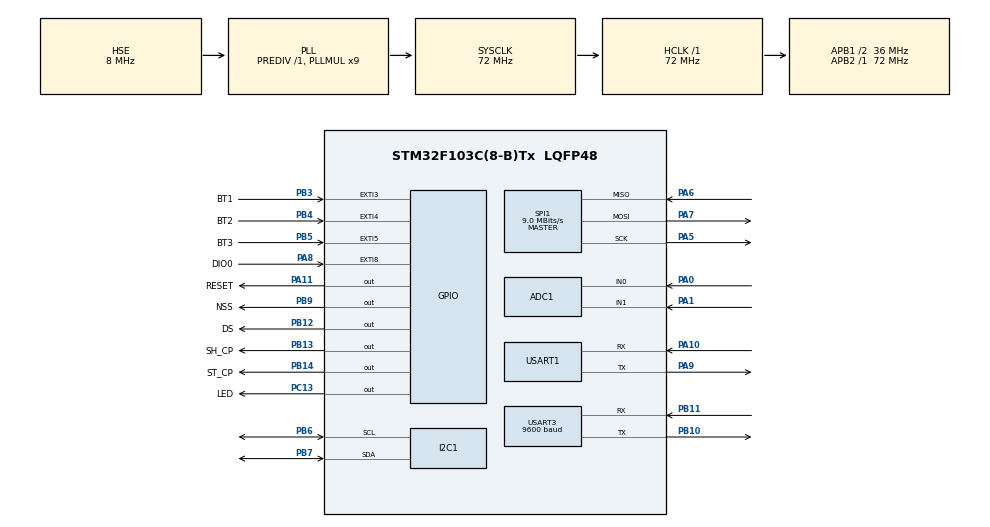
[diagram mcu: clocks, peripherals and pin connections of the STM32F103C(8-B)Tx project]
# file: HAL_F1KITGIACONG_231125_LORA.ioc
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ADC1.Channel-2\#ChannelRegularConversion=ADC_CHANNEL_0
ADC1.Channel-3\#ChannelRegularConversion=ADC_CHANNEL_1
ADC1.ContinuousConvMode=ENABLE
ADC1.NbrOfConversion=2
ADC1.NbrOfConversionFlag=1
ADC1.Rank-2\#ChannelRegularConversion=1
ADC1.Rank-3\#ChannelRegularConversion=2
ADC1.SamplingTime-2\#ChannelRegularConversion=ADC_SAMPLETIME_71CYCLES_5
ADC1.SamplingTime-3\#ChannelRegularConversion=ADC_SAMPLETIME_71CYCLES_5
ADC1.master=1
Dma.ADC1.1.Direction=DMA_PERIPH_TO_MEMORY
Dma.ADC1.1.Instance=DMA1_Channel1
Dma.ADC1.1.MemDataAlignment=DMA_MDATAALIGN_HALFWORD
Dma.ADC1.1.MemInc=DMA_MINC_ENABLE
Dma.ADC1.1.Mode=DMA_CIRCULAR
Dma.ADC1.1.PeriphDataAlignment=DMA_PDATAALIGN_HALFWORD
Dma.ADC1.1.PeriphInc=DMA_PINC_DISABLE
Dma.ADC1.1.Priority=DMA_PRIORITY_LOW
Dma.Request0=USART1_TX
Dma.Request1=ADC1
Dma.Request2=USART3_TX
Dma.USART1_TX.0.Direction=DMA_MEMORY_TO_PERIPH
Dma.USART1_TX.0.Instance=DMA1_Channel4
Dma.USART1_TX.0.MemDataAlignment=DMA_MDATAALIGN_BYTE
Dma.USART1_TX.0.MemInc=DMA_MINC_ENABLE
Dma.USART1_TX.0.Mode=DMA_NORMAL
Dma.USART1_TX.0.PeriphDataAlignment=DMA_PDATAALIGN_BYTE
Dma.USART1_TX.0.PeriphInc=DMA_PINC_DISABLE
Dma.USART1_TX.0.Priority=DMA_PRIORITY_LOW
Dma.USART3_TX.2.Direction=DMA_MEMORY_TO_PERIPH
Dma.USART3_TX.2.Instance=DMA1_Channel2
Dma.USART3_TX.2.MemDataAlignment=DMA_MDATAALIGN_BYTE
Dma.USART3_TX.2.MemInc=DMA_MINC_ENABLE
Dma.USART3_TX.2.Mode=DMA_NORMAL
Dma.USART3_TX.2.PeriphDataAlignment=DMA_PDATAALIGN_BYTE
Dma.USART3_TX.2.PeriphInc=DMA_PINC_DISABLE
Dma.USART3_TX.2.Priority=DMA_PRIORITY_LOW
FREERTOS.Tasks01=defaultTask,0,128,StartDefaultTask,Default,NULL,Dynamic,NULL,NULL
Mcu.Family=STM32F1
Mcu.Name=STM32F103C(8-B)Tx
Mcu.Package=LQFP48
NVIC.DMA1_Channel1_IRQn=true\:5\:0\:false\:false\:true\:true\:false\:true\:true
NVIC.DMA1_Channel2_IRQn=true\:5\:0\:false\:false\:true\:true\:false\:true\:true
NVIC.DMA1_Channel4_IRQn=true\:5\:0\:false\:false\:true\:true\:false\:true\:true
NVIC.EXTI3_IRQn=true\:0\:0\:false\:false\:true\:false\:true\:true\:true
NVIC.EXTI4_IRQn=true\:0\:0\:false\:false\:true\:false\:true\:true\:true
NVIC.EXTI9_5_IRQn=true\:5\:0\:false\:false\:true\:true\:true\:true\:true
NVIC.PriorityGroup=NVIC_PRIORITYGROUP_4
NVIC.TIM1_UP_IRQn=true\:5\:0\:false\:false\:true\:true\:true\:true\:true
NVIC.TIM2_IRQn=true\:15\:0\:false\:false\:true\:false\:false\:true\:true
NVIC.TimeBase=TIM2_IRQn
NVIC.TimeBaseIP=TIM2
NVIC.USART1_IRQn=true\:5\:0\:false\:false\:true\:true\:true\:true\:true
NVIC.USART3_IRQn=true\:5\:0\:false\:false\:true\:true\:true\:true\:true
PA0-WKUP.Signal=ADCx_IN0
PA1.Signal=ADCx_IN1
PA10.Mode=Asynchronous
PA10.Signal=USART1_RX
PA11.GPIO_Label=RESET
PA11.PinState=GPIO_PIN_SET
PA11.Signal=GPIO_Output
PA13.Mode=Serial_Wire
PA13.Signal=SYS_JTMS-SWDIO
PA14.Mode=Serial_Wire
PA14.Signal=SYS_JTCK-SWCLK
PA5.Mode=Full_Duplex_Master
PA5.Signal=SPI1_SCK
PA6.Mode=Full_Duplex_Master
PA6.Signal=SPI1_MISO
PA7.Mode=Full_Duplex_Master
PA7.Signal=SPI1_MOSI
PA8.GPIO_Label=DIO0
PA8.Signal=GPXTI8
PA9.Mode=Asynchronous
PA9.Signal=USART1_TX
PB10.Mode=Asynchronous
PB10.Signal=USART3_TX
PB11.Mode=Asynchronous
PB11.Signal=USART3_RX
PB12.GPIO_Label=DS
PB12.GPIO_Speed=GPIO_SPEED_FREQ_HIGH
PB12.PinState=GPIO_PIN_RESET
PB12.Signal=GPIO_Output
PB13.GPIO_Label=SH_CP
PB13.GPIO_Speed=GPIO_SPEED_FREQ_HIGH
PB13.Signal=GPIO_Output
PB14.GPIO_Label=ST_CP
PB14.GPIO_Speed=GPIO_SPEED_FREQ_HIGH
PB14.Signal=GPIO_Output
PB3.GPIO_Label=BT1
PB3.GPIO_ModeDefaultEXTI=GPIO_MODE_IT_FALLING
PB3.Signal=GPXTI3
PB4.GPIO_Label=BT2
PB4.GPIO_ModeDefaultEXTI=GPIO_MODE_IT_FALLING
PB4.Signal=GPXTI4
PB5.GPIO_Label=BT3
PB5.GPIO_ModeDefaultEXTI=GPIO_MODE_IT_FALLING
PB5.Signal=GPXTI5
PB6.Mode=I2C
PB6.Signal=I2C1_SCL
PB7.Mode=I2C
PB7.Signal=I2C1_SDA
PB9.GPIO_Label=NSS
PB9.PinState=GPIO_PIN_SET
PB9.Signal=GPIO_Output
PC13-TAMPER-RTC.GPIO_Label=LED
PC13-TAMPER-RTC.Signal=GPIO_Output
PD0-OSC_IN.Mode=HSE-External-Oscillator
PD0-OSC_IN.Signal=RCC_OSC_IN
PD1-OSC_OUT.Mode=HSE-External-Oscillator
PD1-OSC_OUT.Signal=RCC_OSC_OUT
ProjectManager.HeapSize=0x200
ProjectManager.StackSize=0x400
ProjectManager.TargetToolchain=MDK-ARM V5.32
RCC.ADCPresc=RCC_ADCPCLK2_DIV6
RCC.AHBFreq_Value=72000000
RCC.APB1CLKDivider=RCC_HCLK_DIV2
RCC.APB1Freq_Value=36000000
RCC.APB1TimFreq_Value=72000000
RCC.APB2Freq_Value=72000000
RCC.APB2TimFreq_Value=72000000
RCC.HCLKFreq_Value=72000000
RCC.PLLMUL=RCC_PLL_MUL9
RCC.PLLSourceVirtual=RCC_PLLSOURCE_HSE
RCC.SYSCLKFreq_VALUE=72000000
RCC.SYSCLKSource=RCC_SYSCLKSOURCE_PLLCLK
RCC.USBFreq_Value=72000000
SH.ADCx_IN0.0=ADC1_IN0,IN0
SH.ADCx_IN1.0=ADC1_IN1,IN1
SPI1.BaudRatePrescaler=SPI_BAUDRATEPRESCALER_8
SPI1.CalculateBaudRate=9.0 MBits/s
SPI1.Direction=SPI_DIRECTION_2LINES
SPI1.Mode=SPI_MODE_MASTER
SPI1.VirtualType=VM_MASTER
TIM1.AutoReloadPreload=TIM_AUTORELOAD_PRELOAD_ENABLE
TIM1.Period=999
TIM1.Prescaler=7199
USART1.VirtualMode=VM_ASYNC
USART3.BaudRate=9600
USART3.VirtualMode=VM_ASYNC
VP_FREERTOS_VS_CMSIS_V1.Mode=CMSIS_V1
VP_RTC_No_RTC_Output.Mode=RTC_OUT_NO
VP_RTC_VS_RTC_Activate.Mode=RTC_Enabled
VP_RTC_VS_RTC_Calendar.Mode=RTC_Calendar
VP_SYS_VS_tim2.Mode=TIM2
VP_TIM1_VS_ClockSourceINT.Mode=Internal
board=custom

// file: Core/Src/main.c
/* USER CODE BEGIN Header */
/**
  ******************************************************************************
  * @file           : main.c
  * @brief          : Main program body
  ******************************************************************************
  * @attention
  *
  * Copyright (c) 2025 STMicroelectronics.
  * All rights reserved.
  *
  * This software is licensed under terms that can be found in the LICENSE file
  * in the root directory of this software component.
  * If no LICENSE file comes with this software, it is provided AS-IS.
  *
  ******************************************************************************
  */
/* USER CODE END Header */
#include "main.h"
#include "cmsis_os.h"

ADC_HandleTypeDef hadc1;
DMA_HandleTypeDef hdma_adc1;

I2C_HandleTypeDef hi2c1;

RTC_HandleTypeDef hrtc;

SPI_HandleTypeDef hspi1;

TIM_HandleTypeDef htim1;

UART_HandleTypeDef huart1;
UART_HandleTypeDef huart3;
DMA_HandleTypeDef hdma_usart1_tx;
DMA_HandleTypeDef hdma_usart3_tx;

osThreadId defaultTaskHandle;

void SystemClock_Config(void);
static void MX_GPIO_Init(void);
static void MX_DMA_Init(void);
static void MX_I2C1_Init(void);
static void MX_SPI1_Init(void);
static void MX_USART1_UART_Init(void);
static void MX_ADC1_Init(void);
static void MX_RTC_Init(void);
static void MX_TIM1_Init(void);
static void MX_USART3_UART_Init(void);
void StartDefaultTask(void const * argument);

/* USER CODE BEGIN 0 */

uint8_t lora_flag=0;

RTC_TimeTypeDef sTime;
RTC_DateTypeDef sDate;

SemaphoreHandle_t button1_semaphore;

uint8_t button1_flag=0;

/* USER CODE END 0 */

int main(void)
{
  /* USER CODE BEGIN 1 */
	lora_semaphore=xSemaphoreCreateBinary();
	button1_semaphore=xSemaphoreCreateBinary();

  /* USER CODE END 1 */

  /* MCU Configuration--------------------------------------------------------*/

  /* Reset of all peripherals, Initializes the Flash interface and the Systick. */
  HAL_Init();

  /* Configure the system clock */
  SystemClock_Config();

  /* Initialize all configured peripherals */
  MX_GPIO_Init();
  MX_DMA_Init();
  MX_I2C1_Init();
  MX_SPI1_Init();
  MX_USART1_UART_Init();
  MX_ADC1_Init();
  MX_RTC_Init();
  MX_TIM1_Init();
  MX_USART3_UART_Init();
  /* USER CODE BEGIN 2 */
	HAL_ADC_Start_DMA(&hadc1,(uint32_t*)adc_value.adcValues,2);

	//xTaskCreate(Task1,"Task1",256,NULL,1,NULL);
	//xTaskCreate(TaskSendLora,"TaskSendLora",512,NULL,1,NULL);

	//xTaskCreate(TaskMaster,"TaskMaster",256,NULL,1,NULL);
	xTaskCreate(TaskNode,"TaskNode",512,NULL,1,NULL);

	xTaskCreate(TaskAdc,"TaskAdc",128,NULL,1,NULL);
	xTaskCreate(TaskRTC,"TaskRTC",128,NULL,1,NULL);
	xTaskCreate(TaskHienThi,"TaskHienThi",128,NULL,1,NULL);
	xTaskCreate(TaskLed,"TaskLed",128,NULL,1,NULL);
	xTaskCreate(TaskButton,"TaskButton",128,NULL,1,NULL);
	//xTaskCreate(TaskSendData,"TaskSendData",256,NULL,1,NULL);
	vTaskStartScheduler();

  /* USER CODE END 2 */

  /* Create the thread(s) */
  /* definition and creation of defaultTask */
  osThreadDef(defaultTask, StartDefaultTask, osPriorityNormal, 0, 128);
  defaultTaskHandle = osThreadCreate(osThread(defaultTask), NULL);

  /* Start scheduler */
  osKernelStart();

  /* We should never get here as control is now taken by the scheduler */
  /* Infinite loop */
  while (1)
  {

  }
}

void SystemClock_Config(void)
{
  RCC_OscInitTypeDef RCC_OscInitStruct = {0};
  RCC_ClkInitTypeDef RCC_ClkInitStruct = {0};
  RCC_PeriphCLKInitTypeDef PeriphClkInit = {0};

  /** Initializes the RCC Oscillators according to the specified parameters
  * in the RCC_OscInitTypeDef structure.
  */
  RCC_OscInitStruct.OscillatorType = RCC_OSCILLATORTYPE_LSI|RCC_OSCILLATORTYPE_HSE;
  RCC_OscInitStruct.HSEState = RCC_HSE_ON;
  RCC_OscInitStruct.HSEPredivValue = RCC_HSE_PREDIV_DIV1;
  RCC_OscInitStruct.HSIState = RCC_HSI_ON;
  RCC_OscInitStruct.LSIState = RCC_LSI_ON;
  RCC_OscInitStruct.PLL.PLLState = RCC_PLL_ON;
  RCC_OscInitStruct.PLL.PLLSource = RCC_PLLSOURCE_HSE;
  RCC_OscInitStruct.PLL.PLLMUL = RCC_PLL_MUL9;
  if (HAL_RCC_OscConfig(&RCC_OscInitStruct) != HAL_OK)
  {
    Error_Handler();
  }

  /** Initializes the CPU, AHB and APB buses clocks
  */
  RCC_ClkInitStruct.ClockType = RCC_CLOCKTYPE_HCLK|RCC_CLOCKTYPE_SYSCLK
                              |RCC_CLOCKTYPE_PCLK1|RCC_CLOCKTYPE_PCLK2;
  RCC_ClkInitStruct.SYSCLKSource = RCC_SYSCLKSOURCE_PLLCLK;
  RCC_ClkInitStruct.AHBCLKDivider = RCC_SYSCLK_DIV1;
  RCC_ClkInitStruct.APB1CLKDivider = RCC_HCLK_DIV2;
  RCC_ClkInitStruct.APB2CLKDivider = RCC_HCLK_DIV1;

  if (HAL_RCC_ClockConfig(&RCC_ClkInitStruct, FLASH_LATENCY_2) != HAL_OK)
  {
    Error_Handler();
  }
  PeriphClkInit.PeriphClockSelection = RCC_PERIPHCLK_RTC|RCC_PERIPHCLK_ADC;
  PeriphClkInit.RTCClockSelection = RCC_RTCCLKSOURCE_LSI;
  PeriphClkInit.AdcClockSelection = RCC_ADCPCLK2_DIV6;
  if (HAL_RCCEx_PeriphCLKConfig(&PeriphClkInit) != HAL_OK)
  {
    Error_Handler();
  }
}

static void MX_ADC1_Init(void)
{

  ADC_ChannelConfTypeDef sConfig = {0};

  /** Common config
  */
  hadc1.Instance = ADC1;
  hadc1.Init.ScanConvMode = ADC_SCAN_ENABLE;
  hadc1.Init.ContinuousConvMode = ENABLE;
  hadc1.Init.DiscontinuousConvMode = DISABLE;
  hadc1.Init.ExternalTrigConv = ADC_SOFTWARE_START;
  hadc1.Init.DataAlign = ADC_DATAALIGN_RIGHT;
  hadc1.Init.NbrOfConversion = 2;
  if (HAL_ADC_Init(&hadc1) != HAL_OK)
  {
    Error_Handler();
  }

  /** Configure Regular Channel
  */
  sConfig.Channel = ADC_CHANNEL_0;
  sConfig.Rank = ADC_REGULAR_RANK_1;
  sConfig.SamplingTime = ADC_SAMPLETIME_71CYCLES_5;
  if (HAL_ADC_ConfigChannel(&hadc1, &sConfig) != HAL_OK)
  {
    Error_Handler();
  }

  /** Configure Regular Channel
  */
  sConfig.Channel = ADC_CHANNEL_1;
  sConfig.Rank = ADC_REGULAR_RANK_2;
  if (HAL_ADC_ConfigChannel(&hadc1, &sConfig) != HAL_OK)
  {
    Error_Handler();
  }

}

static void MX_I2C1_Init(void)
{

  hi2c1.Instance = I2C1;
  hi2c1.Init.ClockSpeed = 100000;
  hi2c1.Init.DutyCycle = I2C_DUTYCYCLE_2;
  hi2c1.Init.OwnAddress1 = 0;
  hi2c1.Init.AddressingMode = I2C_ADDRESSINGMODE_7BIT;
  hi2c1.Init.DualAddressMode = I2C_DUALADDRESS_DISABLE;
  hi2c1.Init.OwnAddress2 = 0;
  hi2c1.Init.GeneralCallMode = I2C_GENERALCALL_DISABLE;
  hi2c1.Init.NoStretchMode = I2C_NOSTRETCH_DISABLE;
  if (HAL_I2C_Init(&hi2c1) != HAL_OK)
  {
    Error_Handler();
  }

}

static void MX_RTC_Init(void)
{

  RTC_TimeTypeDef sTime = {0};
  RTC_DateTypeDef DateToUpdate = {0};

  /** Initialize RTC Only
  */
  hrtc.Instance = RTC;
  hrtc.Init.AsynchPrediv = RTC_AUTO_1_SECOND;
  hrtc.Init.OutPut = RTC_OUTPUTSOURCE_NONE;
  if (HAL_RTC_Init(&hrtc) != HAL_OK)
  {
    Error_Handler();
  }

  /** Initialize RTC and set the Time and Date
  */
  sTime.Hours = 0x0;
  sTime.Minutes = 0x0;
  sTime.Seconds = 0x0;

  if (HAL_RTC_SetTime(&hrtc, &sTime, RTC_FORMAT_BCD) != HAL_OK)
  {
    Error_Handler();
  }
  DateToUpdate.WeekDay = RTC_WEEKDAY_MONDAY;
  DateToUpdate.Month = RTC_MONTH_JANUARY;
  DateToUpdate.Date = 0x1;
  DateToUpdate.Year = 0x0;

  if (HAL_RTC_SetDate(&hrtc, &DateToUpdate, RTC_FORMAT_BCD) != HAL_OK)
  {
    Error_Handler();
  }

}

static void MX_SPI1_Init(void)
{

  /* SPI1 parameter configuration*/
  hspi1.Instance = SPI1;
  hspi1.Init.Mode = SPI_MODE_MASTER;
  hspi1.Init.Direction = SPI_DIRECTION_2LINES;
  hspi1.Init.DataSize = SPI_DATASIZE_8BIT;
  hspi1.Init.CLKPolarity = SPI_POLARITY_LOW;
  hspi1.Init.CLKPhase = SPI_PHASE_1EDGE;
  hspi1.Init.NSS = SPI_NSS_SOFT;
  hspi1.Init.BaudRatePrescaler = SPI_BAUDRATEPRESCALER_8;
  hspi1.Init.FirstBit = SPI_FIRSTBIT_MSB;
  hspi1.Init.TIMode = SPI_TIMODE_DISABLE;
  hspi1.Init.CRCCalculation = SPI_CRCCALCULATION_DISABLE;
  hspi1.Init.CRCPolynomial = 10;
  if (HAL_SPI_Init(&hspi1) != HAL_OK)
  {
    Error_Handler();
  }

}

static void MX_TIM1_Init(void)
{

  TIM_ClockConfigTypeDef sClockSourceConfig = {0};
  TIM_MasterConfigTypeDef sMasterConfig = {0};

  htim1.Instance = TIM1;
  htim1.Init.Prescaler = 7199;
  htim1.Init.CounterMode = TIM_COUNTERMODE_UP;
  htim1.Init.Period = 999;
  htim1.Init.ClockDivision = TIM_CLOCKDIVISION_DIV1;
  htim1.Init.RepetitionCounter = 0;
  htim1.Init.AutoReloadPreload = TIM_AUTORELOAD_PRELOAD_ENABLE;
  if (HAL_TIM_Base_Init(&htim1) != HAL_OK)
  {
    Error_Handler();
  }
  sClockSourceConfig.ClockSource = TIM_CLOCKSOURCE_INTERNAL;
  if (HAL_TIM_ConfigClockSource(&htim1, &sClockSourceConfig) != HAL_OK)
  {
    Error_Handler();
  }
  sMasterConfig.MasterOutputTrigger = TIM_TRGO_RESET;
  sMasterConfig.MasterSlaveMode = TIM_MASTERSLAVEMODE_DISABLE;
  if (HAL_TIMEx_MasterConfigSynchronization(&htim1, &sMasterConfig) != HAL_OK)
  {
    Error_Handler();
  }

}

static void MX_USART1_UART_Init(void)
{

  huart1.Instance = USART1;
  huart1.Init.BaudRate = 115200;
  huart1.Init.WordLength = UART_WORDLENGTH_8B;
  huart1.Init.StopBits = UART_STOPBITS_1;
  huart1.Init.Parity = UART_PARITY_NONE;
  huart1.Init.Mode = UART_MODE_TX_RX;
  huart1.Init.HwFlowCtl = UART_HWCONTROL_NONE;
  huart1.Init.OverSampling = UART_OVERSAMPLING_16;
  if (HAL_UART_Init(&huart1) != HAL_OK)
  {
    Error_Handler();
  }

}

static void MX_USART3_UART_Init(void)
{

  huart3.Instance = USART3;
  huart3.Init.BaudRate = 9600;
  huart3.Init.WordLength = UART_WORDLENGTH_8B;
  huart3.Init.StopBits = UART_STOPBITS_1;
  huart3.Init.Parity = UART_PARITY_NONE;
  huart3.Init.Mode = UART_MODE_TX_RX;
  huart3.Init.HwFlowCtl = UART_HWCONTROL_NONE;
  huart3.Init.OverSampling = UART_OVERSAMPLING_16;
  if (HAL_UART_Init(&huart3) != HAL_OK)
  {
    Error_Handler();
  }

}

static void MX_DMA_Init(void)
{

  /* DMA controller clock enable */
  __HAL_RCC_DMA1_CLK_ENABLE();

  /* DMA interrupt init */
  /* DMA1_Channel1_IRQn interrupt configuration */
  HAL_NVIC_SetPriority(DMA1_Channel1_IRQn, 5, 0);
  HAL_NVIC_EnableIRQ(DMA1_Channel1_IRQn);
  /* DMA1_Channel2_IRQn interrupt configuration */
  HAL_NVIC_SetPriority(DMA1_Channel2_IRQn, 5, 0);
  HAL_NVIC_EnableIRQ(DMA1_Channel2_IRQn);
  /* DMA1_Channel4_IRQn interrupt configuration */
  HAL_NVIC_SetPriority(DMA1_Channel4_IRQn, 5, 0);
  HAL_NVIC_EnableIRQ(DMA1_Channel4_IRQn);

}

static void MX_GPIO_Init(void)
{
  GPIO_InitTypeDef GPIO_InitStruct = {0};

  /* GPIO Ports Clock Enable */
  __HAL_RCC_GPIOC_CLK_ENABLE();
  __HAL_RCC_GPIOD_CLK_ENABLE();
  __HAL_RCC_GPIOA_CLK_ENABLE();
  __HAL_RCC_GPIOB_CLK_ENABLE();

  /*Configure GPIO pin Output Level */
  HAL_GPIO_WritePin(LED_GPIO_Port, LED_Pin, GPIO_PIN_RESET);

  /*Configure GPIO pin Output Level */
  HAL_GPIO_WritePin(GPIOB, DS_Pin|SH_CP_Pin|ST_CP_Pin, GPIO_PIN_RESET);

  /*Configure GPIO pin Output Level */
  HAL_GPIO_WritePin(RESET_GPIO_Port, RESET_Pin, GPIO_PIN_SET);

  /*Configure GPIO pin Output Level */
  HAL_GPIO_WritePin(NSS_GPIO_Port, NSS_Pin, GPIO_PIN_SET);

  /*Configure GPIO pin : LED_Pin */
  GPIO_InitStruct.Pin = LED_Pin;
  GPIO_InitStruct.Mode = GPIO_MODE_OUTPUT_PP;
  GPIO_InitStruct.Pull = GPIO_NOPULL;
  GPIO_InitStruct.Speed = GPIO_SPEED_FREQ_LOW;
  HAL_GPIO_Init(LED_GPIO_Port, &GPIO_InitStruct);

  /*Configure GPIO pins : DS_Pin SH_CP_Pin ST_CP_Pin */
  GPIO_InitStruct.Pin = DS_Pin|SH_CP_Pin|ST_CP_Pin;
  GPIO_InitStruct.Mode = GPIO_MODE_OUTPUT_PP;
  GPIO_InitStruct.Pull = GPIO_NOPULL;
  GPIO_InitStruct.Speed = GPIO_SPEED_FREQ_HIGH;
  HAL_GPIO_Init(GPIOB, &GPIO_InitStruct);

  /*Configure GPIO pin : DIO0_Pin */
  GPIO_InitStruct.Pin = DIO0_Pin;
  GPIO_InitStruct.Mode = GPIO_MODE_IT_RISING;
  GPIO_InitStruct.Pull = GPIO_NOPULL;
  HAL_GPIO_Init(DIO0_GPIO_Port, &GPIO_InitStruct);

  /*Configure GPIO pin : RESET_Pin */
  GPIO_InitStruct.Pin = RESET_Pin;
  GPIO_InitStruct.Mode = GPIO_MODE_OUTPUT_PP;
  GPIO_InitStruct.Pull = GPIO_NOPULL;
  GPIO_InitStruct.Speed = GPIO_SPEED_FREQ_LOW;
  HAL_GPIO_Init(RESET_GPIO_Port, &GPIO_InitStruct);

  /*Configure GPIO pins : BT1_Pin BT2_Pin BT3_Pin */
  GPIO_InitStruct.Pin = BT1_Pin|BT2_Pin|BT3_Pin;
  GPIO_InitStruct.Mode = GPIO_MODE_IT_FALLING;
  GPIO_InitStruct.Pull = GPIO_PULLUP;
  HAL_GPIO_Init(GPIOB, &GPIO_InitStruct);

  /*Configure GPIO pin : NSS_Pin */
  GPIO_InitStruct.Pin = NSS_Pin;
  GPIO_InitStruct.Mode = GPIO_MODE_OUTPUT_PP;
  GPIO_InitStruct.Pull = GPIO_NOPULL;
  GPIO_InitStruct.Speed = GPIO_SPEED_FREQ_LOW;
  HAL_GPIO_Init(NSS_GPIO_Port, &GPIO_InitStruct);

  /* EXTI interrupt init*/
  HAL_NVIC_SetPriority(EXTI3_IRQn, 0, 0);
  HAL_NVIC_EnableIRQ(EXTI3_IRQn);

  HAL_NVIC_SetPriority(EXTI4_IRQn, 0, 0);
  HAL_NVIC_EnableIRQ(EXTI4_IRQn);

  HAL_NVIC_SetPriority(EXTI9_5_IRQn, 5, 0);
  HAL_NVIC_EnableIRQ(EXTI9_5_IRQn);

}

/* USER CODE BEGIN 4 */

void HAL_GPIO_EXTI_Callback(uint16_t GPIO_Pin)
{
    BaseType_t xHigherPriorityTaskWoken = pdFALSE;

    if (GPIO_Pin == DIO0_Pin)
    {
      xSemaphoreGiveFromISR(lora_semaphore, &xHigherPriorityTaskWoken);
			lora_flag=1;
    }
    else if (GPIO_Pin == BT1_Pin)
    {
        //xSemaphoreGiveFromISR(button1_semaphore, &xHigherPriorityTaskWoken);
			 //portYIELD_FROM_ISR(xHigherPriorityTaskWoken);
			button1_flag=1;

    }
}

/* USER CODE END 4 */

void StartDefaultTask(void const * argument)
{
  for(;;)
  {
    osDelay(1);
  }
}

void HAL_TIM_PeriodElapsedCallback(TIM_HandleTypeDef *htim)
{
  if (htim->Instance == TIM2) {
    HAL_IncTick();
  }
}

void Error_Handler(void)
{
  __disable_irq();
  while (1)
  {
  }
}
